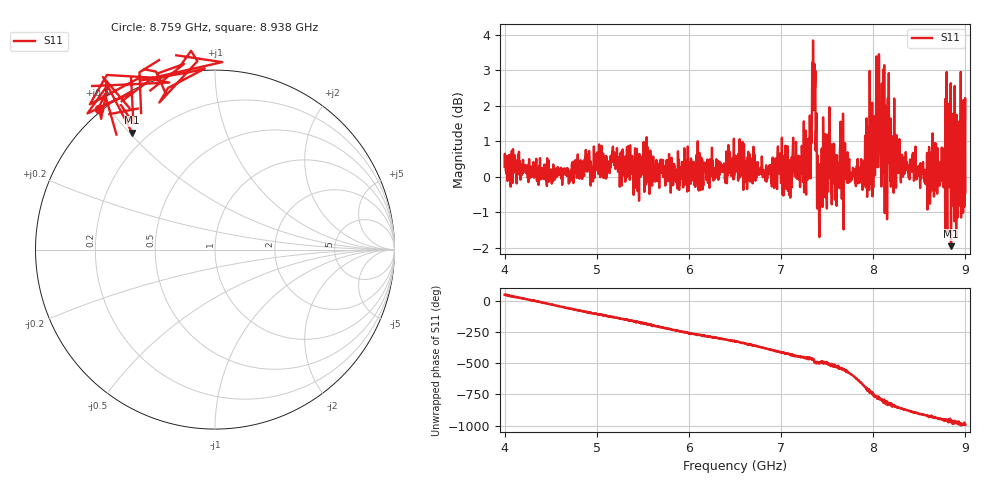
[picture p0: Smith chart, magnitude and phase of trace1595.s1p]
! Created with skrf 1.8.0 (http://scikit-rf.org).
# Hz S RI R 50.0
!freq ReS11 ImS11
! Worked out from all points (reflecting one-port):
!   1601 points, 4 GHz to 9 GHz, reference 50 ohm
!   lowest |S11| = -2.0 dB at 8.844 GHz (marker M1), VSWR 8.89, Z = 7.1 + j25.4 ohm
!   phase of S11 starts at 52 deg and turns -1044 deg over the sweep
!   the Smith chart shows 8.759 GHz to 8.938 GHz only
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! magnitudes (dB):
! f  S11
! 4 GHz  0.3
! 4.625 GHz  -0.2
! 5.25 GHz  -0.3
! 5.875 GHz  0.1
! 6.5 GHz  0.6
! 7.125 GHz  0.6
! 7.297 GHz  0.7
! 7.359 GHz  2.0
! 7.4 GHz  -0.3
! 7.428 GHz  0.3
! 7.453 GHz  -0.8
! 7.512 GHz  0.9
! 7.609 GHz  -0.2
! 7.65 GHz  0.7
! 7.75 GHz  0.0
! 7.878 GHz  -0.2
! 8.056 GHz  0.7
! 8.066 GHz  1.6
! 8.088 GHz  -0.3
! 8.178 GHz  1.0
! 8.197 GHz  0.6
! 8.375 GHz  0.2
! 8.578 GHz  -0.2
! 8.816 GHz  -0.3
! 8.844 GHz  -2.0
! 8.906 GHz  0.3
! 8.959 GHz  2.1
! 9 GHz  -0.4
